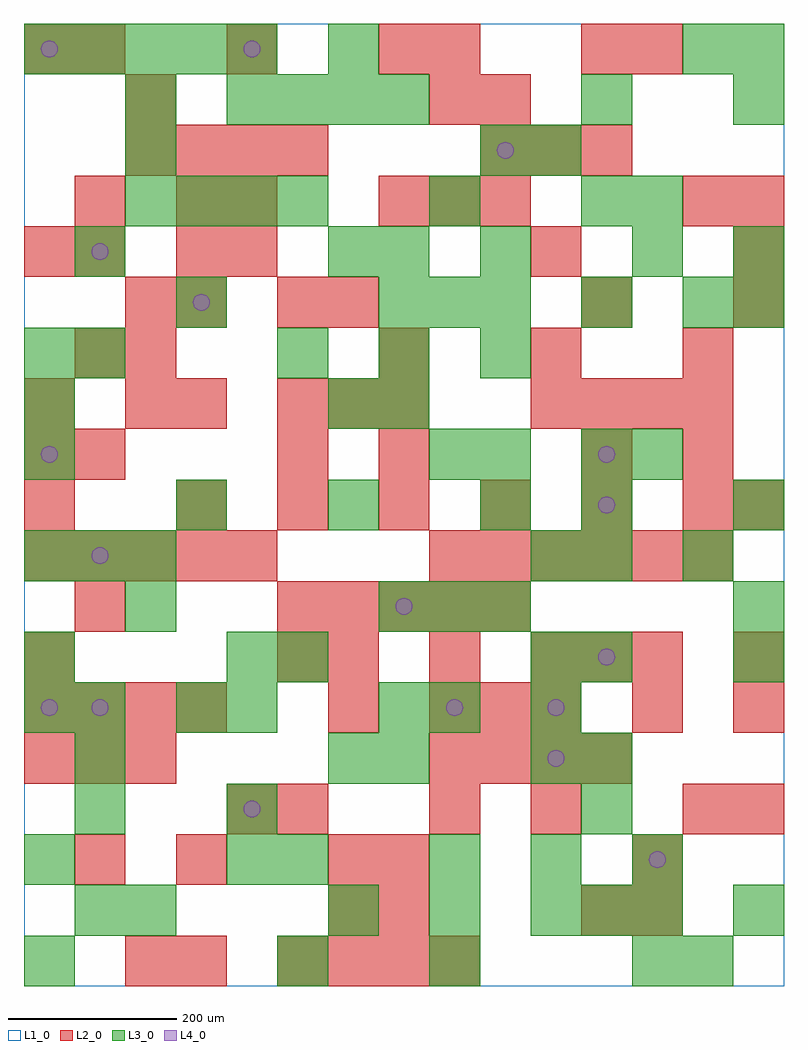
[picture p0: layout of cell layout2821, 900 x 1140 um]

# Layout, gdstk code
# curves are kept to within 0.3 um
import gdstk
lib = gdstk.Library(unit=1e-6, precision=1e-09)
def R(c, l, rs):  # rectangles x0, y0, x1, y1
    for r in rs: c.add(gdstk.rectangle(r[:2], r[2:], *l))
def A(c, l, x, y, w, h, nx, ny, dx, dy):  # array of equal rectangles
    R(c, l, [(x+i*dx, y+j*dy, x+i*dx+w, y+j*dy+h) for i in range(nx) for j in range(ny)])
def P(c, l, *ps):  # polygons
    for p in ps: c.add(gdstk.Polygon(p, *l))
L1_0 = (1, 0)
L2_0 = (2, 0)
L3_0 = (3, 0)
L4_0 = (4, 0)

layout2821 = lib.new_cell('layout2821')
R(layout2821, L1_0, [(0,0,900,1140)])
A(layout2821, L2_0, 300, 0, 60, 60, 4, 1, 60, 0)
A(layout2821, L2_0, 0, 240, 60, 60, 3, 1, 60, 0)
A(layout2821, L2_0, 480, 240, 60, 60, 4, 1, 60, 0)
A(layout2821, L2_0, 0, 300, 60, 60, 4, 1, 60, 0)
A(layout2821, L2_0, 480, 300, 60, 60, 3, 1, 60, 0)
A(layout2821, L2_0, 360, 360, 60, 60, 3, 1, 120, 0)
A(layout2821, L2_0, 300, 420, 60, 60, 5, 1, 60, 0)
A(layout2821, L2_0, 0, 480, 60, 60, 5, 1, 60, 0)
A(layout2821, L2_0, 480, 480, 60, 60, 6, 1, 60, 0)
A(layout2821, L2_0, 0, 540, 60, 60, 1, 3, 0, 60)
A(layout2821, L2_0, 180, 540, 60, 60, 6, 1, 120, 0)
A(layout2821, L2_0, 60, 600, 60, 60, 1, 3, 0, 120)
A(layout2821, L2_0, 120, 660, 60, 60, 1, 3, 0, 60)
A(layout2821, L2_0, 300, 660, 60, 60, 3, 1, 60, 0)
A(layout2821, L2_0, 600, 660, 60, 60, 4, 1, 60, 0)
A(layout2821, L2_0, 420, 720, 60, 60, 3, 1, 180, 0)
A(layout2821, L2_0, 180, 780, 60, 60, 1, 3, 0, 60)
A(layout2821, L2_0, 840, 780, 60, 60, 1, 3, 0, 60)
A(layout2821, L2_0, 420, 900, 60, 60, 3, 1, 60, 0)
A(layout2821, L2_0, 120, 960, 60, 60, 4, 1, 60, 0)
A(layout2821, L2_0, 540, 960, 60, 60, 3, 1, 60, 0)
A(layout2821, L2_0, 60, 1080, 60, 60, 3, 1, 180, 0)
R(layout2821, L2_0, [(120,0,180,60), (180,0,240,60), (360,60,420,120), (420,60,480,120), (660,60,720,120), (720,60,780,120), (60,120,120,180), (180,120,240,180), (360,120,420,180), (420,120,480,180), (720,120,780,180), (240,180,300,240), (300,180,360,240), (480,180,540,240), (600,180,660,240), (780,180,840,240), (840,180,900,240), (360,300,420,360), (720,300,780,360), (840,300,900,360), (0,360,60,420), (300,360,360,420), (660,360,720,420), (720,360,780,420), (840,360,900,420), (60,420,120,480), (840,540,900,600), (300,600,360,660), (420,600,480,660), (660,600,720,660), (780,600,840,660), (180,660,240,720), (300,780,360,840), (360,780,420,840), (660,780,720,840), (0,840,60,900), (240,840,300,900), (600,840,660,900), (60,900,120,960), (240,900,300,960), (780,900,840,960), (120,1020,180,1080), (480,1020,540,1080), (540,1020,600,1080), (0,1080,60,1140), (480,1080,540,1140), (660,1080,720,1140), (720,1080,780,1140)])
A(layout2821, L3_0, 480, 0, 60, 60, 1, 4, 0, 300)
A(layout2821, L3_0, 360, 60, 60, 60, 3, 1, 120, 0)
A(layout2821, L3_0, 480, 120, 60, 60, 3, 1, 120, 0)
A(layout2821, L3_0, 60, 180, 60, 60, 1, 3, 0, 60)
A(layout2821, L3_0, 600, 240, 60, 60, 1, 3, 0, 60)
A(layout2821, L3_0, 660, 240, 60, 60, 1, 3, 0, 120)
A(layout2821, L3_0, 420, 420, 60, 60, 3, 2, 60, 360)
A(layout2821, L3_0, 0, 480, 60, 60, 3, 1, 60, 0)
A(layout2821, L3_0, 780, 480, 60, 60, 1, 3, 0, 300)
A(layout2821, L3_0, 180, 540, 60, 60, 3, 1, 180, 0)
A(layout2821, L3_0, 0, 600, 60, 60, 1, 3, 0, 60)
A(layout2821, L3_0, 300, 720, 60, 60, 3, 1, 120, 0)
A(layout2821, L3_0, 660, 780, 60, 60, 1, 3, 0, 120)
A(layout2821, L3_0, 120, 900, 60, 60, 4, 1, 60, 0)
A(layout2821, L3_0, 240, 1020, 60, 60, 4, 1, 60, 0)
A(layout2821, L3_0, 0, 1080, 60, 60, 5, 1, 60, 0)
R(layout2821, L3_0, [(0,0,60,60), (300,0,360,60), (720,0,780,60), (780,0,840,60), (60,60,120,120), (120,60,180,120), (660,60,720,120), (720,60,780,120), (840,60,900,120), (0,120,60,180), (240,120,300,180), (300,120,360,180), (240,180,300,240), (660,180,720,240), (360,240,420,300), (420,240,480,300), (0,300,60,360), (180,300,240,360), (240,300,300,360), (420,300,480,360), (0,360,60,420), (240,360,300,420), (300,360,360,420), (840,360,900,420), (120,420,180,480), (840,420,900,480), (600,480,660,540), (660,540,720,600), (840,540,900,600), (540,600,600,660), (660,600,720,660), (720,600,780,660), (360,660,420,720), (420,660,480,720), (60,720,120,780), (180,780,240,840), (840,780,900,840), (60,840,120,900), (360,840,420,900), (420,840,480,900), (540,840,600,900), (720,840,780,900), (840,840,900,900), (720,900,780,960), (120,960,180,1020), (540,960,600,1020), (600,960,660,1020), (120,1020,180,1080), (840,1020,900,1080), (360,1080,420,1140), (840,1080,900,1140)])
P(layout2821, L4_0, [(40,330),(39.239,333.827),(37.071,337.071),(33.827,339.239),(30,340),(26.173,339.239),(22.929,337.071),(20.761,333.827),(20,330),(20.761,326.173),(22.929,322.929),(26.173,320.761),(30,320),(33.827,320.761),(37.071,322.929),(39.239,326.173)],
  [(40,630),(39.239,633.827),(37.071,637.071),(33.827,639.239),(30,640),(26.173,639.239),(22.929,637.071),(20.761,633.827),(20,630),(20.761,626.173),(22.929,622.929),(26.173,620.761),(30,620),(33.827,620.761),(37.071,622.929),(39.239,626.173)],
  [(40,1110),(39.239,1113.827),(37.071,1117.071),(33.827,1119.239),(30,1120),(26.173,1119.239),(22.929,1117.071),(20.761,1113.827),(20,1110),(20.761,1106.173),(22.929,1102.929),(26.173,1100.761),(30,1100),(33.827,1100.761),(37.071,1102.929),(39.239,1106.173)],
  [(100,330),(99.239,333.827),(97.071,337.071),(93.827,339.239),(90,340),(86.173,339.239),(82.929,337.071),(80.761,333.827),(80,330),(80.761,326.173),(82.929,322.929),(86.173,320.761),(90,320),(93.827,320.761),(97.071,322.929),(99.239,326.173)],
  [(100,510),(99.239,513.827),(97.071,517.071),(93.827,519.239),(90,520),(86.173,519.239),(82.929,517.071),(80.761,513.827),(80,510),(80.761,506.173),(82.929,502.929),(86.173,500.761),(90,500),(93.827,500.761),(97.071,502.929),(99.239,506.173)],
  [(100,870),(99.239,873.827),(97.071,877.071),(93.827,879.239),(90,880),(86.173,879.239),(82.929,877.071),(80.761,873.827),(80,870),(80.761,866.173),(82.929,862.929),(86.173,860.761),(90,860),(93.827,860.761),(97.071,862.929),(99.239,866.173)],
  [(220,810),(219.239,813.827),(217.071,817.071),(213.827,819.239),(210,820),(206.173,819.239),(202.929,817.071),(200.761,813.827),(200,810),(200.761,806.173),(202.929,802.929),(206.173,800.761),(210,800),(213.827,800.761),(217.071,802.929),(219.239,806.173)],
  [(280,210),(279.239,213.827),(277.071,217.071),(273.827,219.239),(270,220),(266.173,219.239),(262.929,217.071),(260.761,213.827),(260,210),(260.761,206.173),(262.929,202.929),(266.173,200.761),(270,200),(273.827,200.761),(277.071,202.929),(279.239,206.173)],
  [(280,1110),(279.239,1113.827),(277.071,1117.071),(273.827,1119.239),(270,1120),(266.173,1119.239),(262.929,1117.071),(260.761,1113.827),(260,1110),(260.761,1106.173),(262.929,1102.929),(266.173,1100.761),(270,1100),(273.827,1100.761),(277.071,1102.929),(279.239,1106.173)],
  [(460,450),(459.239,453.827),(457.071,457.071),(453.827,459.239),(450,460),(446.173,459.239),(442.929,457.071),(440.761,453.827),(440,450),(440.761,446.173),(442.929,442.929),(446.173,440.761),(450,440),(453.827,440.761),(457.071,442.929),(459.239,446.173)],
  [(520,330),(519.239,333.827),(517.071,337.071),(513.827,339.239),(510,340),(506.173,339.239),(502.929,337.071),(500.761,333.827),(500,330),(500.761,326.173),(502.929,322.929),(506.173,320.761),(510,320),(513.827,320.761),(517.071,322.929),(519.239,326.173)],
  [(580,990),(579.239,993.827),(577.071,997.071),(573.827,999.239),(570,1000),(566.173,999.239),(562.929,997.071),(560.761,993.827),(560,990),(560.761,986.173),(562.929,982.929),(566.173,980.761),(570,980),(573.827,980.761),(577.071,982.929),(579.239,986.173)],
  [(640,270),(639.239,273.827),(637.071,277.071),(633.827,279.239),(630,280),(626.173,279.239),(622.929,277.071),(620.761,273.827),(620,270),(620.761,266.173),(622.929,262.929),(626.173,260.761),(630,260),(633.827,260.761),(637.071,262.929),(639.239,266.173)],
  [(640,330),(639.239,333.827),(637.071,337.071),(633.827,339.239),(630,340),(626.173,339.239),(622.929,337.071),(620.761,333.827),(620,330),(620.761,326.173),(622.929,322.929),(626.173,320.761),(630,320),(633.827,320.761),(637.071,322.929),(639.239,326.173)],
  [(700,390),(699.239,393.827),(697.071,397.071),(693.827,399.239),(690,400),(686.173,399.239),(682.929,397.071),(680.761,393.827),(680,390),(680.761,386.173),(682.929,382.929),(686.173,380.761),(690,380),(693.827,380.761),(697.071,382.929),(699.239,386.173)],
  [(700,570),(699.239,573.827),(697.071,577.071),(693.827,579.239),(690,580),(686.173,579.239),(682.929,577.071),(680.761,573.827),(680,570),(680.761,566.173),(682.929,562.929),(686.173,560.761),(690,560),(693.827,560.761),(697.071,562.929),(699.239,566.173)],
  [(700,630),(699.239,633.827),(697.071,637.071),(693.827,639.239),(690,640),(686.173,639.239),(682.929,637.071),(680.761,633.827),(680,630),(680.761,626.173),(682.929,622.929),(686.173,620.761),(690,620),(693.827,620.761),(697.071,622.929),(699.239,626.173)],
  [(760,150),(759.239,153.827),(757.071,157.071),(753.827,159.239),(750,160),(746.173,159.239),(742.929,157.071),(740.761,153.827),(740,150),(740.761,146.173),(742.929,142.929),(746.173,140.761),(750,140),(753.827,140.761),(757.071,142.929),(759.239,146.173)])

lib.write_gds('layout2821.gds')
